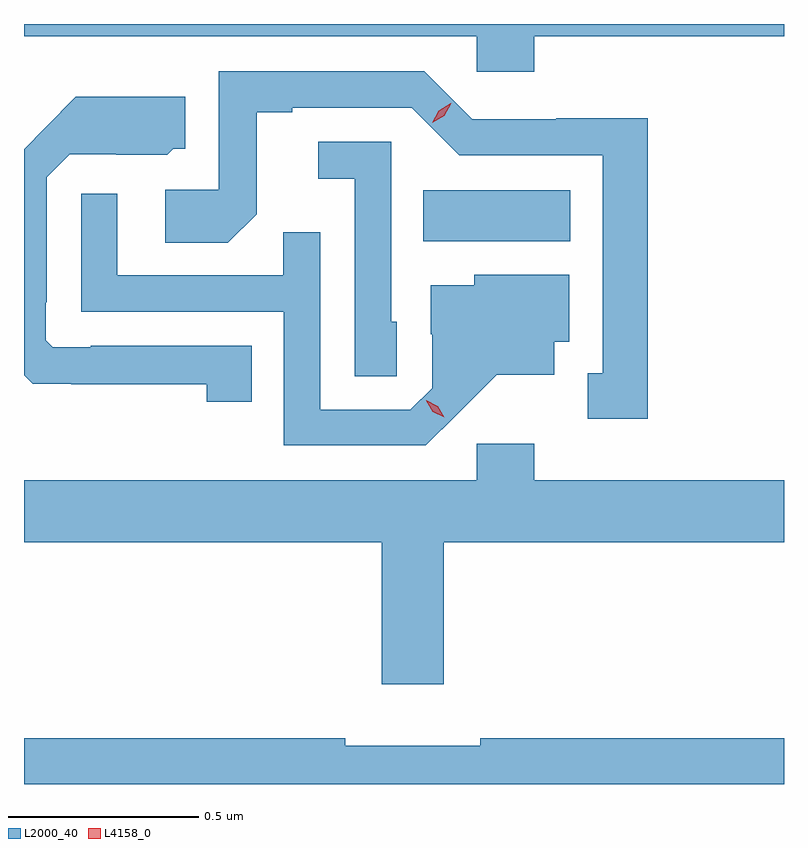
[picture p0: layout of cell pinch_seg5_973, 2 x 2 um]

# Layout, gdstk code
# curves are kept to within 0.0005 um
import gdstk
lib = gdstk.Library(unit=1e-6, precision=1e-09)
def R(c, l, rs):  # rectangles x0, y0, x1, y1
    for r in rs: c.add(gdstk.rectangle(r[:2], r[2:], *l))
def P(c, l, *ps):  # polygons
    for p in ps: c.add(gdstk.Polygon(p, *l))
L2000_40 = (2000, 40)
L4158_0 = (4158, 0)

pinch_seg5_973 = lib.new_cell('pinch_seg5_973')
R(pinch_seg5_973, L2000_40, [(704.578,888.188,704.965,888.322)])
P(pinch_seg5_973, L2000_40, [(704.87,888.728),(705.527,888.728),(705.527,888.76),(703.527,888.76),(703.527,888.728),(704.718,888.728),(704.718,888.635),(704.87,888.635)],
  [(705.169,888.512),(704.928,888.512),(704.928,888.51),(704.706,888.51),(704.58,888.636),(704.04,888.636),(704.04,888.324),(703.899,888.324),(703.899,888.184),(704.063,888.184),(704.139,888.26),(704.139,888.528),(704.233,888.528),(704.233,888.54),(704.547,888.54),(704.673,888.414),(705.05,888.414),(705.05,887.841),(705.011,887.841),(705.011,887.721),(705.169,887.721)],
  [(704.126,887.913),(703.702,887.913),(703.702,887.91),(703.602,887.91),(703.584,887.928),(703.584,888.028),(703.587,888.028),(703.587,888.357),(703.647,888.417),(703.77,888.417),(703.77,888.416),(703.904,888.416),(703.92,888.432),(703.951,888.432),(703.951,888.568),(703.663,888.568),(703.527,888.43),(703.527,887.836),(703.55,887.813),(703.651,887.813),(703.651,887.812),(704.008,887.812),(704.008,887.766),(704.126,887.766)],
  [(704.508,887.976),(704.493,887.976),(704.493,888.45),(704.301,888.45),(704.301,888.353),(704.397,888.353),(704.397,887.833),(704.508,887.833)],
  [(704.668,887.735),(704.771,887.837),(704.923,887.837),(704.923,887.924),(704.962,887.924),(704.962,888.1),(704.712,888.1),(704.712,888.073),(704.597,888.073),(704.597,887.944),(704.601,887.944),(704.601,887.802),(704.544,887.745),(704.307,887.745),(704.307,888.212),(704.209,888.212),(704.209,888.099),(703.773,888.099),(703.773,888.313),(703.677,888.313),(703.677,888.003),(704.211,888.003),(704.211,887.652),(704.584,887.652)],
  [(704.632,887.396),(705.527,887.396),(705.527,887.56),(704.87,887.56),(704.87,887.656),(704.718,887.656),(704.718,887.56),(703.527,887.56),(703.527,887.396),(704.468,887.396),(704.468,887.022),(704.632,887.022)],
  [(705.527,886.88),(704.728,886.88),(704.728,886.861),(704.372,886.861),(704.372,886.88),(703.527,886.88),(703.527,886.76),(705.527,886.76)])
P(pinch_seg5_973, L4158_0, [(704.601,888.5),(704.601,888.5),(704.618,888.532),(704.65,888.551),(704.651,888.551),(704.651,888.551),(704.633,888.518),(704.601,888.5)],
  [(704.633,887.725),(704.602,887.74),(704.585,887.769),(704.585,887.77),(704.586,887.77),(704.616,887.754),(704.633,887.725),(704.633,887.725)])

lib.write_gds('pinch_seg5_973.gds')
